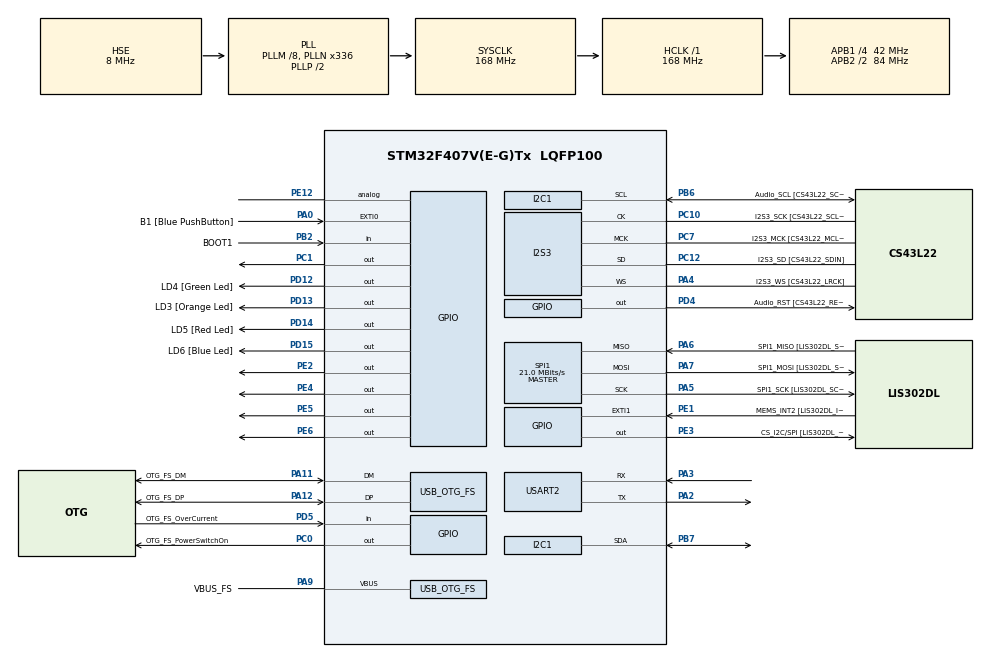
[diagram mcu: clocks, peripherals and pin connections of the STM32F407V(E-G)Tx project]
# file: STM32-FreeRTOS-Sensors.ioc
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Dma.Request0=USART2_TX
Dma.Request1=SPI1_TX
Dma.SPI1_TX.1.Direction=DMA_MEMORY_TO_PERIPH
Dma.SPI1_TX.1.FIFOMode=DMA_FIFOMODE_ENABLE
Dma.SPI1_TX.1.FIFOThreshold=DMA_FIFO_THRESHOLD_FULL
Dma.SPI1_TX.1.Instance=DMA2_Stream3
Dma.SPI1_TX.1.MemBurst=DMA_MBURST_SINGLE
Dma.SPI1_TX.1.MemDataAlignment=DMA_MDATAALIGN_BYTE
Dma.SPI1_TX.1.MemInc=DMA_MINC_ENABLE
Dma.SPI1_TX.1.Mode=DMA_NORMAL
Dma.SPI1_TX.1.PeriphBurst=DMA_PBURST_SINGLE
Dma.SPI1_TX.1.PeriphDataAlignment=DMA_PDATAALIGN_BYTE
Dma.SPI1_TX.1.PeriphInc=DMA_PINC_DISABLE
Dma.SPI1_TX.1.Priority=DMA_PRIORITY_MEDIUM
Dma.USART2_TX.0.Direction=DMA_MEMORY_TO_PERIPH
Dma.USART2_TX.0.FIFOMode=DMA_FIFOMODE_DISABLE
Dma.USART2_TX.0.Instance=DMA1_Stream6
Dma.USART2_TX.0.MemDataAlignment=DMA_MDATAALIGN_BYTE
Dma.USART2_TX.0.MemInc=DMA_MINC_ENABLE
Dma.USART2_TX.0.Mode=DMA_NORMAL
Dma.USART2_TX.0.PeriphDataAlignment=DMA_PDATAALIGN_BYTE
Dma.USART2_TX.0.PeriphInc=DMA_PINC_DISABLE
Dma.USART2_TX.0.Priority=DMA_PRIORITY_MEDIUM
I2S3.AudioFreq-Half_Duplex_Master=I2S_AUDIOFREQ_96K
I2S3.ErrorAudioFreq=-2.34 %
I2S3.ErrorAudioFreq-Half_Duplex_Master=0.8 %
I2S3.FullDuplexMode=I2S_FULLDUPLEXMODE_DISABLE
I2S3.Instance=SPI$Index
I2S3.RealAudioFreq=93.75 KHz
I2S3.RealAudioFreq-Half_Duplex_Master=96.774 KHz
I2S3.VirtualMode=I2S_MODE_MASTER
Mcu.Family=STM32F4
Mcu.Name=STM32F407V(E-G)Tx
Mcu.Package=LQFP100
NVIC.DMA1_Stream6_IRQn=true\:0\:0\:false\:false\:true\:false\:true\:true
NVIC.DMA2_Stream3_IRQn=true\:0\:0\:false\:false\:true\:false\:true\:true
NVIC.OTG_FS_IRQn=true\:0\:0\:false\:false\:true\:true\:true\:true
NVIC.PriorityGroup=NVIC_PRIORITYGROUP_4
NVIC.SPI1_IRQn=true\:0\:0\:false\:false\:true\:true\:true\:true
NVIC.TIM6_DAC_IRQn=true\:0\:0\:false\:false\:true\:false\:true\:true
NVIC.TimeBase=TIM6_DAC_IRQn
NVIC.TimeBaseIP=TIM6
NVIC.USART2_IRQn=true\:0\:0\:false\:false\:true\:true\:true\:true
PA0-WKUP.GPIO_Label=B1 [Blue PushButton]
PA0-WKUP.GPIO_ModeDefaultEXTI=GPIO_MODE_EVT_RISING
PA0-WKUP.GPIO_PuPd=GPIO_NOPULL
PA0-WKUP.Signal=GPXTI0
PA10.GPIO_Label=OTG_FS_ID
PA10.GPIO_Mode=GPIO_MODE_AF_PP
PA10.GPIO_PuPd=GPIO_NOPULL
PA10.GPIO_Speed=GPIO_SPEED_FREQ_LOW
PA10.Signal=USB_OTG_FS_ID
PA11.GPIO_Label=OTG_FS_DM
PA11.GPIO_Mode=GPIO_MODE_AF_PP
PA11.GPIO_PuPd=GPIO_NOPULL
PA11.GPIO_Speed=GPIO_SPEED_FREQ_LOW
PA11.Mode=Host_Only
PA11.Signal=USB_OTG_FS_DM
PA12.GPIO_Label=OTG_FS_DP
PA12.GPIO_Mode=GPIO_MODE_AF_PP
PA12.GPIO_PuPd=GPIO_NOPULL
PA12.GPIO_Speed=GPIO_SPEED_FREQ_LOW
PA12.Mode=Host_Only
PA12.Signal=USB_OTG_FS_DP
PA13.GPIO_Label=SWDIO
PA13.Mode=Serial_Wire
PA13.Signal=SYS_JTMS-SWDIO
PA14.GPIO_Label=SWCLK
PA14.Mode=Serial_Wire
PA14.Signal=SYS_JTCK-SWCLK
PA2.Mode=Asynchronous
PA2.Signal=USART2_TX
PA3.Mode=Asynchronous
PA3.Signal=USART2_RX
PA4.GPIO_Label=I2S3_WS [CS43L22_LRCK]
PA4.GPIO_Mode=GPIO_MODE_AF_PP
PA4.GPIO_PuPd=GPIO_NOPULL
PA4.GPIO_Speed=GPIO_SPEED_FREQ_LOW
PA4.Mode=Half_Duplex_Master
PA4.Signal=I2S3_WS
PA5.GPIO_Label=SPI1_SCK [LIS302DL_SCL/SPC]
PA5.GPIO_Mode=GPIO_MODE_AF_PP
PA5.GPIO_PuPd=GPIO_NOPULL
PA5.GPIO_Speed=GPIO_SPEED_FREQ_LOW
PA5.Mode=Full_Duplex_Master
PA5.Signal=SPI1_SCK
PA6.GPIO_Label=SPI1_MISO [LIS302DL_SDO]
PA6.GPIO_Mode=GPIO_MODE_AF_PP
PA6.GPIO_PuPd=GPIO_NOPULL
PA6.GPIO_Speed=GPIO_SPEED_FREQ_LOW
PA6.Mode=Full_Duplex_Master
PA6.Signal=SPI1_MISO
PA7.GPIO_Label=SPI1_MOSI [LIS302DL_SDA/SDI/SDO]
PA7.GPIO_Mode=GPIO_MODE_AF_PP
PA7.GPIO_PuPd=GPIO_NOPULL
PA7.GPIO_Speed=GPIO_SPEED_FREQ_LOW
PA7.Mode=Full_Duplex_Master
PA7.Signal=SPI1_MOSI
PA9.GPIO_Label=VBUS_FS
PA9.GPIO_Mode=GPIO_MODE_INPUT
PA9.GPIO_PuPd=GPIO_NOPULL
PA9.Mode=Activate_VBUS
PA9.Signal=USB_OTG_FS_VBUS
PB10.GPIO_Label=CLK_IN [MP45DT02_CLK]
PB10.GPIO_Mode=GPIO_MODE_AF_PP
PB10.GPIO_PuPd=GPIO_NOPULL
PB10.GPIO_Speed=GPIO_SPEED_FREQ_LOW
PB10.Signal=I2S2_CK
PB2.GPIO_Label=BOOT1
PB2.GPIO_Mode=GPIO_MODE_INPUT
PB2.GPIO_PuPd=GPIO_NOPULL
PB2.Signal=GPIO_Input
PB3.GPIO_Label=SWO
PB3.Signal=SYS_JTDO-SWO
PB6.GPIO_Label=Audio_SCL [CS43L22_SCL]
PB6.GPIO_Mode=GPIO_MODE_AF_OD
PB6.GPIO_Pu=GPIO_PULLUP
PB6.GPIO_PuPd=GPIO_NOPULL
PB6.GPIO_Speed=GPIO_SPEED_FREQ_VERY_HIGH
PB6.Mode=I2C
PB6.Signal=I2C1_SCL
PB7.GPIO_Pu=GPIO_PULLUP
PB7.Mode=I2C
PB7.Signal=I2C1_SDA
PC0.GPIO_Label=OTG_FS_PowerSwitchOn
PC0.GPIO_PuPd=GPIO_NOPULL
PC0.GPIO_Speed=GPIO_SPEED_FREQ_LOW
PC0.PinState=GPIO_PIN_SET
PC0.Signal=GPIO_Output
PC1.Signal=GPIO_Output
PC10.GPIO_Label=I2S3_SCK [CS43L22_SCLK]
PC10.GPIO_Mode=GPIO_MODE_AF_PP
PC10.GPIO_PuPd=GPIO_NOPULL
PC10.GPIO_Speed=GPIO_SPEED_FREQ_LOW
PC10.Mode=Half_Duplex_Master
PC10.Signal=I2S3_CK
PC12.GPIO_Label=I2S3_SD [CS43L22_SDIN]
PC12.GPIO_Mode=GPIO_MODE_AF_PP
PC12.GPIO_PuPd=GPIO_NOPULL
PC12.GPIO_Speed=GPIO_SPEED_FREQ_LOW
PC12.Mode=Half_Duplex_Master
PC12.Signal=I2S3_SD
PC14-OSC32_IN.GPIO_Label=PC14-OSC32_IN
PC14-OSC32_IN.Mode=LSE-External-Oscillator
PC14-OSC32_IN.Signal=RCC_OSC32_IN
PC15-OSC32_OUT.GPIO_Label=PC15-OSC32_OUT
PC15-OSC32_OUT.Mode=LSE-External-Oscillator
PC15-OSC32_OUT.Signal=RCC_OSC32_OUT
PC3.GPIO_Label=PDM_OUT [MP45DT02_DOUT]
PC3.GPIO_Mode=GPIO_MODE_AF_PP
PC3.GPIO_PuPd=GPIO_NOPULL
PC3.GPIO_Speed=GPIO_SPEED_FREQ_LOW
PC3.Signal=I2S2_SD
PC7.GPIO_Label=I2S3_MCK [CS43L22_MCLK]
PC7.GPIO_Mode=GPIO_MODE_AF_PP
PC7.GPIO_PuPd=GPIO_NOPULL
PC7.GPIO_Speed=GPIO_SPEED_FREQ_LOW
PC7.Mode=Master_Clock_Activated
PC7.Signal=I2S3_MCK
PD12.GPIO_Label=LD4 [Green Led]
PD12.GPIO_PuPd=GPIO_NOPULL
PD12.GPIO_Speed=GPIO_SPEED_FREQ_LOW
PD12.Signal=GPIO_Output
PD13.GPIO_Label=LD3 [Orange Led]
PD13.GPIO_PuPd=GPIO_NOPULL
PD13.GPIO_Speed=GPIO_SPEED_FREQ_LOW
PD13.Signal=GPIO_Output
PD14.GPIO_Label=LD5 [Red Led]
PD14.GPIO_PuPd=GPIO_NOPULL
PD14.GPIO_Speed=GPIO_SPEED_FREQ_LOW
PD14.Signal=GPIO_Output
PD15.GPIO_Label=LD6 [Blue Led]
PD15.GPIO_PuPd=GPIO_NOPULL
PD15.GPIO_Speed=GPIO_SPEED_FREQ_LOW
PD15.Signal=GPIO_Output
PD4.GPIO_Label=Audio_RST [CS43L22_RESET]
PD4.GPIO_PuPd=GPIO_NOPULL
PD4.GPIO_Speed=GPIO_SPEED_FREQ_LOW
PD4.Signal=GPIO_Output
PD5.GPIO_Label=OTG_FS_OverCurrent
PD5.GPIO_Mode=GPIO_MODE_INPUT
PD5.GPIO_PuPd=GPIO_NOPULL
PD5.Signal=GPIO_Input
PE1.GPIO_Label=MEMS_INT2 [LIS302DL_INT2]
PE1.GPIO_ModeDefaultEXTI=GPIO_MODE_EVT_RISING
PE1.GPIO_PuPd=GPIO_NOPULL
PE1.Signal=GPXTI1
PE11.Signal=GPXTI11
PE12.Signal=GPIO_Analog
PE2.Signal=GPIO_Output
PE3.GPIO_Label=CS_I2C/SPI [LIS302DL_CS_I2C/SPI]
PE3.GPIO_PuPd=GPIO_NOPULL
PE3.GPIO_Speed=GPIO_SPEED_FREQ_LOW
PE3.Signal=GPIO_Output
PE4.Signal=GPIO_Output
PE5.Signal=GPIO_Output
PE6.Signal=GPIO_Output
PE9.Signal=S_TIM1_CH1
PH0-OSC_IN.GPIO_Label=PH0-OSC_IN
PH0-OSC_IN.Mode=HSE-External-Oscillator
PH0-OSC_IN.Signal=RCC_OSC_IN
PH1-OSC_OUT.GPIO_Label=PH1-OSC_OUT
PH1-OSC_OUT.Mode=HSE-External-Oscillator
PH1-OSC_OUT.Signal=RCC_OSC_OUT
ProjectManager.HeapSize=0x200
ProjectManager.StackSize=0x400
ProjectManager.TargetToolchain=STM32CubeIDE
RCC.48MHZClocksFreq_Value=48000000
RCC.AHBFreq_Value=168000000
RCC.APB1CLKDivider=RCC_HCLK_DIV4
RCC.APB1Freq_Value=42000000
RCC.APB1TimFreq_Value=84000000
RCC.APB2CLKDivider=RCC_HCLK_DIV2
RCC.APB2Freq_Value=84000000
RCC.APB2TimFreq_Value=168000000
RCC.CortexFreq_Value=168000000
RCC.HCLKFreq_Value=168000000
RCC.HSE_VALUE=8000000
RCC.HSI_VALUE=16000000
RCC.PLLM=8
RCC.PLLN=336
RCC.PLLQ=7
RCC.SYSCLKFreq_VALUE=168000000
RCC.SYSCLKSource=RCC_SYSCLKSOURCE_PLLCLK
RCC.VCOOutputFreq_Value=336000000
SH.S_TIM1_CH1.0=TIM1_CH1
SPI1.BaudRatePrescaler=SPI_BAUDRATEPRESCALER_4
SPI1.BaudRatePrescaler-Full_Duplex_Master=SPI_BAUDRATEPRESCALER_2
SPI1.CalculateBaudRate=21.0 MBits/s
SPI1.CalculateBaudRate-Full_Duplex_Master=42.0 MBits/s
SPI1.Direction=SPI_DIRECTION_2LINES
SPI1.Mode=SPI_MODE_MASTER
SPI1.Mode-Full_Duplex_Master=SPI_MODE_MASTER
SPI1.VirtualType=VM_MASTER
TIM1.Period=255 - 1
TIM1.Prescaler=84 - 1
TIM2.Period=0xffffffff
TIM2.Prescaler=83
USART2.VirtualMode=VM_ASYNC
USB_HOST.BSP.number=1
USB_HOST.USBH_HandleTypeDef-CDC_FS=hUsbHostFS
USB_HOST.VirtualModeFS=Cdc
USB_HOST0.BSP.STBoard=false
USB_HOST0.BSP.api=Unknown
USB_HOST0.BSP.instance=PC0
USB_HOST0.BSP.ip=GPIO
USB_HOST0.BSP.mode=Output
USB_HOST0.BSP.name=Drive_VBUS_FS
USB_HOST0.BSP.solution=PC0
USB_OTG_FS.VirtualMode=Host_Only
USB_OTG_FS.phy_itface=HCD_PHY_EMBEDDED
VP_SYS_VS_tim6.Mode=TIM6
VP_TIM1_VS_ClockSourceINT.Mode=Internal
VP_TIM2_VS_ClockSourceINT.Mode=Internal
VP_USB_HOST_VS_USB_HOST_CDC_FS.Mode=CDC_FS
board=STM32F407G-DISC1

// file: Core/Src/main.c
/* USER CODE BEGIN Header */
/**
 ******************************************************************************
 * @file           : main.c
 * @brief          : Main program body
 ******************************************************************************
 * @attention
 *
 * Copyright (c) 2026 STMicroelectronics.
 * All rights reserved.
 *
 * This software is licensed under terms that can be found in the LICENSE file
 * in the root directory of this software component.
 * If no LICENSE file comes with this software, it is provided AS-IS.
 *
 ******************************************************************************
 */
/* USER CODE END Header */
#include "main.h"
#include "usb_host.h"

/* USER CODE BEGIN Includes */
#include "BH1750/LightSensor.h"
#include "BME280/bme.h"
#include "FreeRTOS.h"
#include "LCD_Screen/LCD_Screen.h"
#include "VL53L0X/DistanceSensor.h"
#include "diag.h"
#include "event_groups.h"
#include "i2c_manager.h"
#include "logger.h"
#include "shrek.h"
#include "task.h"
#include "utils.h"
#include <stdlib.h>
#include <string.h>
/* USER CODE END Includes */

/* USER CODE BEGIN PD */
#define PRIO_INIT 5
#define PRIO_I2C 4
#define PRIO_LCD 3
#define PRIO_DISTANCE_SENSOR 2
#define PRIO_LIGHT_SENSOR 2
#define PRIO_BME 2
#define PRIO_LOGGER 1
#define PRIO_DRAW_IMAGE 1
#define PRIO_CPU_LOAD (tskIDLE_PRIORITY + 1)
/* USER CODE END PD */

I2C_HandleTypeDef hi2c1;

I2S_HandleTypeDef hi2s3;

SPI_HandleTypeDef hspi1;
DMA_HandleTypeDef hdma_spi1_tx;

TIM_HandleTypeDef htim1;
TIM_HandleTypeDef htim2;

UART_HandleTypeDef huart2;
DMA_HandleTypeDef hdma_usart2_tx;

/* USER CODE BEGIN PV */
TaskHandle_t logger_task_handle;
TaskHandle_t LCD_screen_task_handle;
TaskHandle_t I2C_ManagerTaskHandle;
TaskHandle_t distance_measure_task_handle;
TaskHandle_t bme_task_handle;
TaskHandle_t init_task_handle;
TaskHandle_t diag_task_handle;
TaskHandle_t light_sensor_task_handle;
/* USER CODE END PV */

void SystemClock_Config(void);
static void MX_GPIO_Init(void);
static void MX_DMA_Init(void);
static void MX_I2C1_Init(void);
static void MX_I2S3_Init(void);
static void MX_SPI1_Init(void);
static void MX_USART2_UART_Init(void);
static void MX_TIM1_Init(void);
static void MX_TIM2_Init(void);
void MX_USB_HOST_Process(void);

/* USER CODE BEGIN PFP */
static void DistanceMeasureTask(void* parameters);
static void BMETask(void* parameters);
static void InitTask(void* parameters);
// static void DrawImageTask(void* parameter);
/* USER CODE END PFP */

int main(void)
{

    /* USER CODE BEGIN 1 */
    BaseType_t status;
    /* USER CODE END 1 */

    /* MCU Configuration--------------------------------------------------------*/

    /* Reset of all peripherals, Initializes the Flash interface and the Systick. */
    HAL_Init();

    /* Configure the system clock */
    SystemClock_Config();

    /* Initialize all configured peripherals */
    MX_GPIO_Init();
    MX_DMA_Init();
    MX_I2C1_Init();
    MX_I2S3_Init();
    MX_SPI1_Init();
    MX_USB_HOST_Init();
    MX_USART2_UART_Init();
    MX_TIM1_Init();
    MX_TIM2_Init();
    /* USER CODE BEGIN 2 */
    HAL_TIM_PWM_Start(&htim1, TIM_CHANNEL_1);

    status = xTaskCreate(InitTask, "Init-Task", 200, "", PRIO_INIT, &init_task_handle);
    configASSERT(pdPASS == status);

    /* W/A: Set Priorities NVIC after CubeMX Code Generation */
    HAL_NVIC_SetPriority(DMA1_Stream6_IRQn, 5, 0);
    HAL_NVIC_SetPriority(USART2_IRQn, 5, 0);

    vTaskStartScheduler();

    /* USER CODE END 2 */

    /* Infinite loop */
    while (1)
    {
        MX_USB_HOST_Process();

    }
}

void SystemClock_Config(void)
{
    RCC_OscInitTypeDef RCC_OscInitStruct = { 0 };
    RCC_ClkInitTypeDef RCC_ClkInitStruct = { 0 };

    /** Configure the main internal regulator output voltage
     */
    __HAL_RCC_PWR_CLK_ENABLE();
    __HAL_PWR_VOLTAGESCALING_CONFIG(PWR_REGULATOR_VOLTAGE_SCALE1);

    /** Initializes the RCC Oscillators according to the specified parameters
     * in the RCC_OscInitTypeDef structure.
     */
    RCC_OscInitStruct.OscillatorType = RCC_OSCILLATORTYPE_HSE;
    RCC_OscInitStruct.HSEState       = RCC_HSE_ON;
    RCC_OscInitStruct.PLL.PLLState   = RCC_PLL_ON;
    RCC_OscInitStruct.PLL.PLLSource  = RCC_PLLSOURCE_HSE;
    RCC_OscInitStruct.PLL.PLLM       = 8;
    RCC_OscInitStruct.PLL.PLLN       = 336;
    RCC_OscInitStruct.PLL.PLLP       = RCC_PLLP_DIV2;
    RCC_OscInitStruct.PLL.PLLQ       = 7;
    if (HAL_RCC_OscConfig(&RCC_OscInitStruct) != HAL_OK)
    {
        Error_Handler();
    }

    /** Initializes the CPU, AHB and APB buses clocks
     */
    RCC_ClkInitStruct.ClockType      = RCC_CLOCKTYPE_HCLK | RCC_CLOCKTYPE_SYSCLK | RCC_CLOCKTYPE_PCLK1 | RCC_CLOCKTYPE_PCLK2;
    RCC_ClkInitStruct.SYSCLKSource   = RCC_SYSCLKSOURCE_PLLCLK;
    RCC_ClkInitStruct.AHBCLKDivider  = RCC_SYSCLK_DIV1;
    RCC_ClkInitStruct.APB1CLKDivider = RCC_HCLK_DIV4;
    RCC_ClkInitStruct.APB2CLKDivider = RCC_HCLK_DIV2;

    if (HAL_RCC_ClockConfig(&RCC_ClkInitStruct, FLASH_LATENCY_5) != HAL_OK)
    {
        Error_Handler();
    }
}

static void MX_I2C1_Init(void)
{

    hi2c1.Instance             = I2C1;
    hi2c1.Init.ClockSpeed      = 100000;
    hi2c1.Init.DutyCycle       = I2C_DUTYCYCLE_2;
    hi2c1.Init.OwnAddress1     = 0;
    hi2c1.Init.AddressingMode  = I2C_ADDRESSINGMODE_7BIT;
    hi2c1.Init.DualAddressMode = I2C_DUALADDRESS_DISABLE;
    hi2c1.Init.OwnAddress2     = 0;
    hi2c1.Init.GeneralCallMode = I2C_GENERALCALL_DISABLE;
    hi2c1.Init.NoStretchMode   = I2C_NOSTRETCH_DISABLE;
    if (HAL_I2C_Init(&hi2c1) != HAL_OK)
    {
        Error_Handler();
    }
}

static void MX_I2S3_Init(void)
{

    hi2s3.Instance            = SPI3;
    hi2s3.Init.Mode           = I2S_MODE_MASTER_TX;
    hi2s3.Init.Standard       = I2S_STANDARD_PHILIPS;
    hi2s3.Init.DataFormat     = I2S_DATAFORMAT_16B;
    hi2s3.Init.MCLKOutput     = I2S_MCLKOUTPUT_ENABLE;
    hi2s3.Init.AudioFreq      = I2S_AUDIOFREQ_96K;
    hi2s3.Init.CPOL           = I2S_CPOL_LOW;
    hi2s3.Init.ClockSource    = I2S_CLOCK_PLL;
    hi2s3.Init.FullDuplexMode = I2S_FULLDUPLEXMODE_DISABLE;
    if (HAL_I2S_Init(&hi2s3) != HAL_OK)
    {
        Error_Handler();
    }
}

static void MX_SPI1_Init(void)
{

    /* USER CODE BEGIN SPI1_Init 0 */
    __HAL_RCC_SPI1_CLK_ENABLE();  // włącz zegar SPI1
    __HAL_RCC_GPIOA_CLK_ENABLE(); // SPI1 używa pinów z portu A

    GPIO_InitTypeDef GPIO_InitStruct = { 0 };
    GPIO_InitStruct.Pin              = GPIO_PIN_5 | GPIO_PIN_6 | GPIO_PIN_7; // PA5=SCK, PA6=MISO, PA7=MOSI
    GPIO_InitStruct.Mode             = GPIO_MODE_AF_PP;
    GPIO_InitStruct.Pull             = GPIO_NOPULL;
    GPIO_InitStruct.Speed            = GPIO_SPEED_FREQ_VERY_HIGH;
    GPIO_InitStruct.Alternate        = GPIO_AF5_SPI1;
    HAL_GPIO_Init(GPIOA, &GPIO_InitStruct);
    /* USER CODE END SPI1_Init 0 */

    /* SPI1 parameter configuration*/
    hspi1.Instance               = SPI1;
    hspi1.Init.Mode              = SPI_MODE_MASTER;
    hspi1.Init.Direction         = SPI_DIRECTION_2LINES;
    hspi1.Init.DataSize          = SPI_DATASIZE_8BIT;
    hspi1.Init.CLKPolarity       = SPI_POLARITY_LOW;
    hspi1.Init.CLKPhase          = SPI_PHASE_1EDGE;
    hspi1.Init.NSS               = SPI_NSS_SOFT;
    hspi1.Init.BaudRatePrescaler = SPI_BAUDRATEPRESCALER_4;
    hspi1.Init.FirstBit          = SPI_FIRSTBIT_MSB;
    hspi1.Init.TIMode            = SPI_TIMODE_DISABLE;
    hspi1.Init.CRCCalculation    = SPI_CRCCALCULATION_DISABLE;
    hspi1.Init.CRCPolynomial     = 10;
    if (HAL_SPI_Init(&hspi1) != HAL_OK)
    {
        Error_Handler();
    }
}

static void MX_TIM1_Init(void)
{

    /* USER CODE BEGIN TIM1_Init 0 */
    TIM_OC_InitTypeDef sConfigOC = { 0 };

    /* USER CODE END TIM1_Init 0 */

    TIM_ClockConfigTypeDef sClockSourceConfig = { 0 };
    TIM_MasterConfigTypeDef sMasterConfig     = { 0 };

    htim1.Instance               = TIM1;
    htim1.Init.Prescaler         = 84 - 1;
    htim1.Init.CounterMode       = TIM_COUNTERMODE_UP;
    htim1.Init.Period            = 255 - 1;
    htim1.Init.ClockDivision     = TIM_CLOCKDIVISION_DIV1;
    htim1.Init.RepetitionCounter = 0;
    htim1.Init.AutoReloadPreload = TIM_AUTORELOAD_PRELOAD_DISABLE;
    if (HAL_TIM_Base_Init(&htim1) != HAL_OK)
    {
        Error_Handler();
    }
    sClockSourceConfig.ClockSource = TIM_CLOCKSOURCE_INTERNAL;
    if (HAL_TIM_ConfigClockSource(&htim1, &sClockSourceConfig) != HAL_OK)
    {
        Error_Handler();
    }
    sMasterConfig.MasterOutputTrigger = TIM_TRGO_RESET;
    sMasterConfig.MasterSlaveMode     = TIM_MASTERSLAVEMODE_DISABLE;
    if (HAL_TIMEx_MasterConfigSynchronization(&htim1, &sMasterConfig) != HAL_OK)
    {
        Error_Handler();
    }
    /* USER CODE BEGIN TIM1_Init 2 */
    sConfigOC.OCMode     = TIM_OCMODE_PWM1;
    sConfigOC.Pulse      = 0; // Początkowe wypełnienie = 0
    sConfigOC.OCPolarity = TIM_OCPOLARITY_HIGH;
    sConfigOC.OCFastMode = TIM_OCFAST_DISABLE;
    HAL_TIM_PWM_ConfigChannel(&htim1, &sConfigOC, TIM_CHANNEL_1);
    sMasterConfig.MasterOutputTrigger = TIM_TRGO_RESET;
    sMasterConfig.MasterSlaveMode     = TIM_MASTERSLAVEMODE_DISABLE;
    if (HAL_TIMEx_MasterConfigSynchronization(&htim1, &sMasterConfig) != HAL_OK)
    {
        Error_Handler();
    }
    /* USER CODE END TIM1_Init 2 */
}

static void MX_TIM2_Init(void)
{

    TIM_ClockConfigTypeDef sClockSourceConfig = { 0 };
    TIM_MasterConfigTypeDef sMasterConfig     = { 0 };

    htim2.Instance               = TIM2;
    htim2.Init.Prescaler         = 83;
    htim2.Init.CounterMode       = TIM_COUNTERMODE_UP;
    htim2.Init.Period            = 0xffffffff;
    htim2.Init.ClockDivision     = TIM_CLOCKDIVISION_DIV1;
    htim2.Init.AutoReloadPreload = TIM_AUTORELOAD_PRELOAD_DISABLE;
    if (HAL_TIM_Base_Init(&htim2) != HAL_OK)
    {
        Error_Handler();
    }
    sClockSourceConfig.ClockSource = TIM_CLOCKSOURCE_INTERNAL;
    if (HAL_TIM_ConfigClockSource(&htim2, &sClockSourceConfig) != HAL_OK)
    {
        Error_Handler();
    }
    sMasterConfig.MasterOutputTrigger = TIM_TRGO_RESET;
    sMasterConfig.MasterSlaveMode     = TIM_MASTERSLAVEMODE_DISABLE;
    if (HAL_TIMEx_MasterConfigSynchronization(&htim2, &sMasterConfig) != HAL_OK)
    {
        Error_Handler();
    }
}

static void MX_USART2_UART_Init(void)
{

    huart2.Instance          = USART2;
    huart2.Init.BaudRate     = 115200;
    huart2.Init.WordLength   = UART_WORDLENGTH_8B;
    huart2.Init.StopBits     = UART_STOPBITS_1;
    huart2.Init.Parity       = UART_PARITY_NONE;
    huart2.Init.Mode         = UART_MODE_TX_RX;
    huart2.Init.HwFlowCtl    = UART_HWCONTROL_NONE;
    huart2.Init.OverSampling = UART_OVERSAMPLING_16;
    if (HAL_UART_Init(&huart2) != HAL_OK)
    {
        Error_Handler();
    }
}

static void MX_DMA_Init(void)
{

    /* DMA controller clock enable */
    __HAL_RCC_DMA1_CLK_ENABLE();
    __HAL_RCC_DMA2_CLK_ENABLE();

    /* DMA interrupt init */
    /* DMA1_Stream6_IRQn interrupt configuration */
    HAL_NVIC_SetPriority(DMA1_Stream6_IRQn, 5, 0);
    HAL_NVIC_EnableIRQ(DMA1_Stream6_IRQn);
    /* DMA2_Stream3_IRQn interrupt configuration */
    HAL_NVIC_SetPriority(DMA2_Stream3_IRQn, 5, 0);
    HAL_NVIC_EnableIRQ(DMA2_Stream3_IRQn);
}

static void MX_GPIO_Init(void)
{
    GPIO_InitTypeDef GPIO_InitStruct = { 0 };

    /* GPIO Ports Clock Enable */
    __HAL_RCC_GPIOE_CLK_ENABLE();
    __HAL_RCC_GPIOC_CLK_ENABLE();
    __HAL_RCC_GPIOH_CLK_ENABLE();
    __HAL_RCC_GPIOA_CLK_ENABLE();
    __HAL_RCC_GPIOB_CLK_ENABLE();
    __HAL_RCC_GPIOD_CLK_ENABLE();

    /*Configure GPIO pin Output Level */
    HAL_GPIO_WritePin(GPIOE, GPIO_PIN_2 | CS_I2C_SPI_Pin | GPIO_PIN_4 | GPIO_PIN_5 | GPIO_PIN_6, GPIO_PIN_RESET);

    /*Configure GPIO pin Output Level */
    HAL_GPIO_WritePin(OTG_FS_PowerSwitchOn_GPIO_Port, OTG_FS_PowerSwitchOn_Pin, GPIO_PIN_SET);

    /*Configure GPIO pin Output Level */
    HAL_GPIO_WritePin(GPIOC, GPIO_PIN_1, GPIO_PIN_RESET);

    /*Configure GPIO pin Output Level */
    HAL_GPIO_WritePin(GPIOD, LD4_Pin | LD3_Pin | LD5_Pin | LD6_Pin | Audio_RST_Pin, GPIO_PIN_RESET);

    /*Configure GPIO pins : PE2 CS_I2C_SPI_Pin PE4 PE5
                             PE6 */
    GPIO_InitStruct.Pin   = GPIO_PIN_2 | CS_I2C_SPI_Pin | GPIO_PIN_4 | GPIO_PIN_5 | GPIO_PIN_6;
    GPIO_InitStruct.Mode  = GPIO_MODE_OUTPUT_PP;
    GPIO_InitStruct.Pull  = GPIO_NOPULL;
    GPIO_InitStruct.Speed = GPIO_SPEED_FREQ_LOW;
    HAL_GPIO_Init(GPIOE, &GPIO_InitStruct);

    /*Configure GPIO pins : OTG_FS_PowerSwitchOn_Pin PC1 */
    GPIO_InitStruct.Pin   = OTG_FS_PowerSwitchOn_Pin | GPIO_PIN_1;
    GPIO_InitStruct.Mode  = GPIO_MODE_OUTPUT_PP;
    GPIO_InitStruct.Pull  = GPIO_NOPULL;
    GPIO_InitStruct.Speed = GPIO_SPEED_FREQ_LOW;
    HAL_GPIO_Init(GPIOC, &GPIO_InitStruct);

    /*Configure GPIO pin : PDM_OUT_Pin */
    GPIO_InitStruct.Pin       = PDM_OUT_Pin;
    GPIO_InitStruct.Mode      = GPIO_MODE_AF_PP;
    GPIO_InitStruct.Pull      = GPIO_NOPULL;
    GPIO_InitStruct.Speed     = GPIO_SPEED_FREQ_LOW;
    GPIO_InitStruct.Alternate = GPIO_AF5_SPI2;
    HAL_GPIO_Init(PDM_OUT_GPIO_Port, &GPIO_InitStruct);

    /*Configure GPIO pin : B1_Pin */
    GPIO_InitStruct.Pin  = B1_Pin;
    GPIO_InitStruct.Mode = GPIO_MODE_EVT_RISING;
    GPIO_InitStruct.Pull = GPIO_NOPULL;
    HAL_GPIO_Init(B1_GPIO_Port, &GPIO_InitStruct);

    /*Configure GPIO pin : BOOT1_Pin */
    GPIO_InitStruct.Pin  = BOOT1_Pin;
    GPIO_InitStruct.Mode = GPIO_MODE_INPUT;
    GPIO_InitStruct.Pull = GPIO_NOPULL;
    HAL_GPIO_Init(BOOT1_GPIO_Port, &GPIO_InitStruct);

    /*Configure GPIO pin : PE11 */
    GPIO_InitStruct.Pin  = GPIO_PIN_11;
    GPIO_InitStruct.Mode = GPIO_MODE_IT_RISING;
    GPIO_InitStruct.Pull = GPIO_NOPULL;
    HAL_GPIO_Init(GPIOE, &GPIO_InitStruct);

    /*Configure GPIO pin : PE12 */
    GPIO_InitStruct.Pin  = GPIO_PIN_12;
    GPIO_InitStruct.Mode = GPIO_MODE_ANALOG;
    GPIO_InitStruct.Pull = GPIO_NOPULL;
    HAL_GPIO_Init(GPIOE, &GPIO_InitStruct);

    /*Configure GPIO pin : CLK_IN_Pin */
    GPIO_InitStruct.Pin       = CLK_IN_Pin;
    GPIO_InitStruct.Mode      = GPIO_MODE_AF_PP;
    GPIO_InitStruct.Pull      = GPIO_NOPULL;
    GPIO_InitStruct.Speed     = GPIO_SPEED_FREQ_LOW;
    GPIO_InitStruct.Alternate = GPIO_AF5_SPI2;
    HAL_GPIO_Init(CLK_IN_GPIO_Port, &GPIO_InitStruct);

    /*Configure GPIO pins : LD4_Pin LD3_Pin LD5_Pin LD6_Pin
                             Audio_RST_Pin */
    GPIO_InitStruct.Pin   = LD4_Pin | LD3_Pin | LD5_Pin | LD6_Pin | Audio_RST_Pin;
    GPIO_InitStruct.Mode  = GPIO_MODE_OUTPUT_PP;
    GPIO_InitStruct.Pull  = GPIO_NOPULL;
    GPIO_InitStruct.Speed = GPIO_SPEED_FREQ_LOW;
    HAL_GPIO_Init(GPIOD, &GPIO_InitStruct);

    /*Configure GPIO pin : OTG_FS_OverCurrent_Pin */
    GPIO_InitStruct.Pin  = OTG_FS_OverCurrent_Pin;
    GPIO_InitStruct.Mode = GPIO_MODE_INPUT;
    GPIO_InitStruct.Pull = GPIO_NOPULL;
    HAL_GPIO_Init(OTG_FS_OverCurrent_GPIO_Port, &GPIO_InitStruct);

    /*Configure GPIO pin : MEMS_INT2_Pin */
    GPIO_InitStruct.Pin  = MEMS_INT2_Pin;
    GPIO_InitStruct.Mode = GPIO_MODE_EVT_RISING;
    GPIO_InitStruct.Pull = GPIO_NOPULL;
    HAL_GPIO_Init(MEMS_INT2_GPIO_Port, &GPIO_InitStruct);

    /* USER CODE BEGIN MX_GPIO_Init_2 */
    GPIO_InitStruct.Pin       = GPIO_PIN_6 | GPIO_PIN_7;
    GPIO_InitStruct.Mode      = GPIO_MODE_AF_OD;
    GPIO_InitStruct.Pull      = GPIO_PULLUP;
    GPIO_InitStruct.Speed     = GPIO_SPEED_FREQ_VERY_HIGH;
    GPIO_InitStruct.Alternate = GPIO_AF4_I2C1;
    HAL_GPIO_Init(GPIOB, &GPIO_InitStruct);
    /* USER CODE END MX_GPIO_Init_2 */
}

/* USER CODE BEGIN 4 */

static void DistanceMeasureTask(void* parameters)
{
    /* 5000ms delay */
    const TickType_t xDelay = 3000 / portTICK_PERIOD_MS;
    uint16_t distance;
    char distanceStr[20];
    for (;;)
    {
        /* Toggle Blue LED */
        HAL_GPIO_TogglePin(GPIOD, GPIO_PIN_15);
        distance = readRangeSingleMillimeters();
        LogPrintf(LOG_INFO, "Distance: %d\n", distance);
        itoa(distance, distanceStr, 10);

        LCD_FillRect(0, 0, LCD_WIDTH, 60, BLACK);
        LCD_DrawString(10, 20, distanceStr, &Font20, GREEN, BLACK);
        vTaskDelay(xDelay);
    }
}

static void BMETask(void* parameters)
{
    /* 5000ms delay */
    const TickType_t xDelay = 2000 / portTICK_PERIOD_MS;
    BME280_Data_t bme_data;
    //_Accum temperature, pressure, humidity;
    char tempStr[8], pressureStr[8], humidityStr[8];
    for (;;)
    {
        bme_data = BME280_ReadData();
        // bme_data.temperature = BME280_ReadTemperature();
        // bme_data.pressure    = BME280_ReadPressure();
        // bme_data.humidity    = BME280_ReadHumidity();

        LCD_FillRect(0, 60, LCD_WIDTH, 180, BLACK);

        snprintf(tempStr, sizeof(tempStr), "%.2f", bme_data.temperature);
        // AccumToString(bme_data.temperature, tempStr, 2);
        LCD_DrawString(10, 60, tempStr, &Font20, CYAN, BLACK);

        snprintf(pressureStr, sizeof(pressureStr), "%.2f", bme_data.pressure);
        // AccumToString(bme_data.pressure, pressureStr, 2);
        LCD_DrawString(10, 100, pressureStr, &Font20, MAGENTA, BLACK);

        snprintf(humidityStr, sizeof(humidityStr), "%.2f", bme_data.humidity);
        // AccumToString(bme_data.humidity, humidityStr, 2);
        LCD_DrawString(10, 140, humidityStr, &Font20, LGRAYBLUE, BLACK);

        vTaskDelay(xDelay);
    }
}

static void LightSensorTask(void* parameters)
{
    /* 5000ms delay */
    const TickType_t xDelay = 2000 / portTICK_PERIOD_MS;
    float lux               = 0u;
    char luxStr[8]          = { 0 };
    Status_t status         = STATUS_OK;
    for (;;)
    {

        status = BH1750_ReadLux(&lux);
        if (STATUS_OK == status)
        {
            snprintf(luxStr, sizeof(luxStr), "%.2f", lux);

            LCD_FillRect(0, 180, LCD_WIDTH, 210, BLACK);
            LCD_DrawString(10, 180, luxStr, &Font20, YELLOW, BLACK);
        }

        vTaskDelay(xDelay);
    }
}

static void InitTask(void* parameter)
{
    BaseType_t status;

    I2C_ManagerInit(&hi2c1);

    status = xTaskCreate(I2C_ManagerTask, "I2C-Manager", 200, "", PRIO_I2C, &I2C_ManagerTaskHandle);
    configASSERT(pdPASS == status);

    LoggerInit();

    status = Init_VL53L0X(TRUE); // Initialize Distance sensor
    configASSERT(STATUS_OK == status);

    status = BME280_Init();
    configASSERT(STATUS_OK == status);

    status = BH1750_Init();
    configASSERT(STATUS_OK == status);

    LCD_ScreenInit();
    LCD_ChangeBrightness(150);
    LCD_FillScreen(BLACK);
    // LCD_DrawImage(shrek_img, 0, 0, LCD_WIDTH, LCD_HEIGHT);

    LogPrintf(LOG_INFO, "Sensors initialized\n", xTaskGetTickCount() * portTICK_PERIOD_MS);

    status = xTaskCreate(DistanceMeasureTask, "Distance", 200, "", PRIO_DISTANCE_SENSOR, &distance_measure_task_handle);
    configASSERT(pdPASS == status);

    status = xTaskCreate(BMETask, "BME280", 768, "", PRIO_BME, &bme_task_handle);
    configASSERT(pdPASS == status);

    status = xTaskCreate(LCDScreenTask, "LCDScreen", 200, "", PRIO_LCD, &LCD_screen_task_handle);
    configASSERT(pdPASS == status);

    status = xTaskCreate(LoggerTask, "Logger", 1024, NULL, PRIO_LOGGER, &logger_task_handle);
    configASSERT(pdPASS == status);

    status = xTaskCreate(LightSensorTask, "Light", 512, NULL, PRIO_LIGHT_SENSOR, &light_sensor_task_handle);
    configASSERT(pdPASS == status);

    status = xTaskCreate(DiagnosticTask, "Diag", 512, NULL, PRIO_CPU_LOAD, &diag_task_handle);
    configASSERT(pdPASS == status);

    vTaskDelete(NULL);
}

// static void DrawImageTask(void* parameter)
//{
//     const TickType_t xDelay = 5000 / portTICK_PERIOD_MS;
//     for (;;)
//     {
//         HAL_GPIO_TogglePin(GPIOD, GPIO_PIN_13);
//         LCD_DrawImage(shrek_img, 0, 0, LCD_WIDTH, LCD_HEIGHT);
//         vTaskDelay(xDelay);
//     }
// }
/* USER CODE END 4 */

void HAL_TIM_PeriodElapsedCallback(TIM_HandleTypeDef* htim)
{
    if (htim->Instance == TIM6)
    {
        HAL_IncTick();
    }
}

void Error_Handler(void)
{
    __disable_irq();
    while (1)
    {
    }
}
